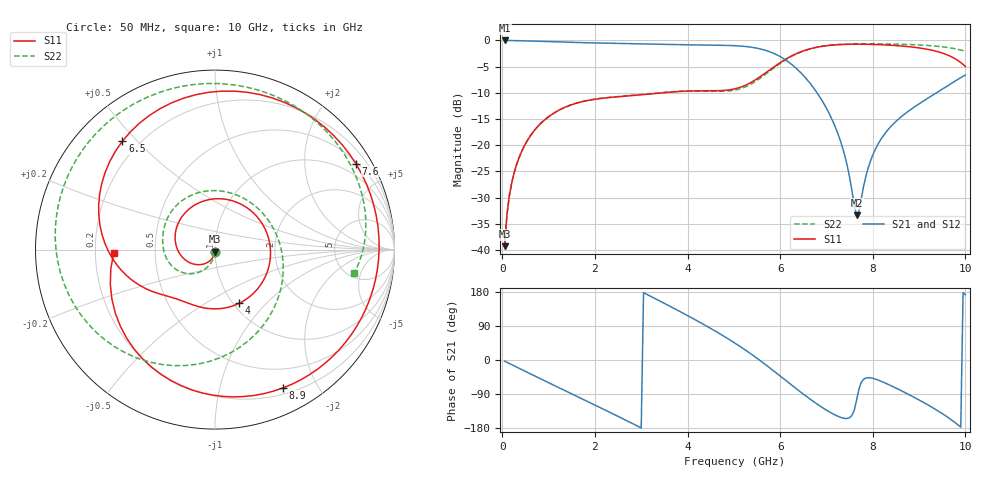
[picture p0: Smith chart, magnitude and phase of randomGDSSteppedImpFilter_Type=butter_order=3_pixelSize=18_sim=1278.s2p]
! freq	dB(S11)	phase(S11)	dB(S12)	phase(S12)
!  dB(S21)	phase(S21)	dB(S22)	phase(S22)
!S-par simulation data
#  GHz  S  DB  R 50
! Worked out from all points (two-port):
!   200 points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, 50 MHz to 10 GHz, reference 50 ohm
!   highest |S21| = -0.01 dB at 50 MHz (marker M1); lowest = -33.4 dB at 7.65 GHz (marker M2)
!   |S21| within 3 dB of the highest: start of sweep to 5.984 GHz
!   lowest |S11| = -39.3 dB at 50 MHz (marker M3), VSWR 1.02, Z = 50 - j1.09 ohm
!   |S11| at or under -10 dB: start of sweep to 3.463 GHz
!   |S22| runs from -39.3 to -0.6 dB; largest |S21 - S12| = 0
!   S11 on the Smith chart (normalised r, x): 50 MHz: 1.00, -0.02; 4 GHz: 1.06, -0.71; 6.5 GHz: 0.14, +0.45; 7.6 GHz: 0.56, +3.48; 8.9 GHz: 0.27, -1.57; 10 GHz: 0.28, -0.01
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0.05  -39.28 -89.4  -0.01 -3.1  -0.01 -3.1  -39.27 -87.9
0.2  -27.36 -104.7  -0.03 -12.1  -0.03 -12.1  -27.30 -98.6
0.5  -19.75 -128.4  -0.09 -30.1  -0.09 -30.1  -19.74 -112.8
1.15  -13.69 -178.8  -0.27 -68.8  -0.27 -68.8  -13.67 -140.1
1.75  -11.65 132.7  -0.44 -104.1  -0.44 -104.1  -11.62 -162.1
2.65  -10.65 52.5  -0.60 -157.8  -0.60 -157.8  -10.60 171.0
3.4  -10.05 -16.5  -0.74 155.8  -0.74 155.8  -9.99 147.7
4  -9.68 -65.8  -0.84 117.2  -0.84 117.2  -9.64 120.5
4.55  -9.62 -102.7  -0.90 79.8  -0.90 79.8  -9.68 82.9
5.05  -9.19 -127.5  -1.02 42.4  -1.02 42.4  -9.44 32.0
5.65  -6.41 -157.1  -1.81 -9.0  -1.81 -9.0  -6.70 -44.8
6.1  -3.68 168.1  -3.62 -51.9  -3.62 -51.9  -3.81 -98.5
6.5  -2.00 130.5  -6.67 -90.0  -6.67 -90.0  -2.04 -140.0
6.7  -1.48 111.2  -8.80 -107.9  -8.80 -107.9  -1.49 -158.5
7.25  -0.82 60.7  -17.88 -148.7  -17.88 -148.7  -0.78 157.2
7.6  -0.73 31.4  -31.50 -132.5  -31.50 -132.5  -0.66 132.7
7.65  -0.73 27.4  -33.41 -106.4  -33.41 -106.4  -0.65 129.4
7.95  -0.76 4.2  -23.02 -47.1  -23.02 -47.1  -0.64 110.0
8.35  -0.91 -24.8  -16.84 -65.3  -16.84 -65.3  -0.68 85.4
8.9  -1.32 -63.9  -12.70 -99.0  -12.70 -99.0  -0.83 52.5
9.45  -2.27 -108.5  -9.59 -137.5  -9.59 -137.5  -1.17 20.5
10  -4.97 -178.2  -6.60 172.2  -6.60 172.2  -2.07 -9.3
